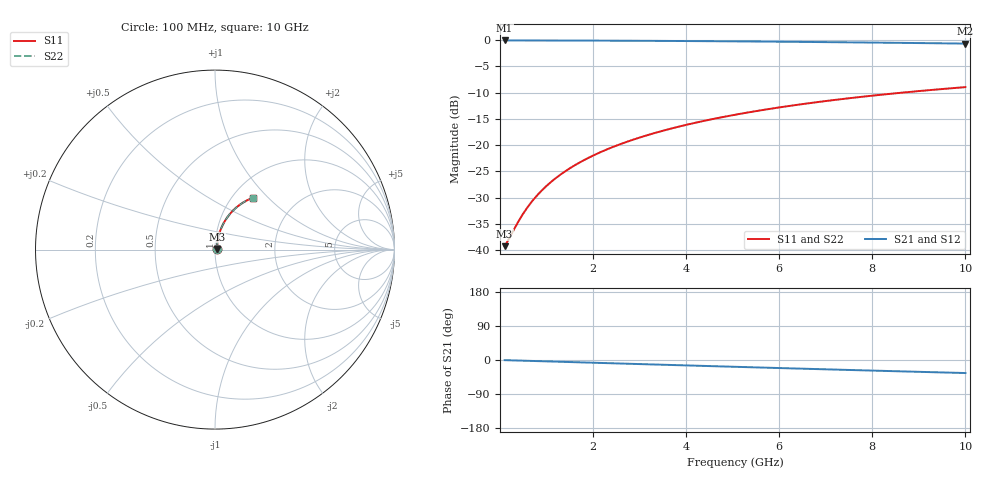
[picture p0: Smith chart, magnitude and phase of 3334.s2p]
# Hz S RI R 50.00
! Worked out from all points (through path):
!   100 points, 100 MHz to 10 GHz, reference 50 ohm
!   highest |S21| = -0.09 dB at 100 MHz (marker M1); lowest = -0.7 dB at 10 GHz (marker M2)
!   group delay of S21, straight-line fit = 9.58 ps
!   lowest |S11| = -39.2 dB at 100 MHz (marker M3), VSWR 1.02, Z = 51 + j0.397 ohm
!   |S11| at or under -10 dB: start of sweep to 8.665 GHz
!   |S22| runs from -39.2 to -9.0 dB; largest |S21 - S12| = 0
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1e8  0.0102 0.00389  0.9898 -0.00621  0.9898 -0.00621  0.0102 0.00389
2e8  0.0104 0.00779  0.9896 -0.0124  0.9896 -0.0124  0.0104 0.00779
4e8  0.0107 0.0156  0.9892 -0.0248  0.9892 -0.0248  0.0107 0.0156
5e8  0.011 0.0194  0.9889 -0.031  0.9889 -0.031  0.011 0.0194
6e8  0.0113 0.0233  0.9886 -0.0372  0.9886 -0.0372  0.0113 0.0233
7e8  0.0116 0.0272  0.9882 -0.0434  0.9882 -0.0434  0.0116 0.0272
8e8  0.012 0.0311  0.9878 -0.0496  0.9878 -0.0496  0.012 0.0311
1e9  0.0129 0.0388  0.9868 -0.062  0.9868 -0.062  0.0129 0.0388
1.2e9  0.014 0.0465  0.9855 -0.0743  0.9855 -0.0743  0.014 0.0465
1.5e9  0.0161 0.0579  0.9833 -0.0927  0.9833 -0.0927  0.0161 0.0579
1.8e9  0.0185 0.0693  0.9806 -0.1111  0.9806 -0.1111  0.0185 0.0693
2.1e9  0.0213 0.0805  0.9774 -0.1293  0.9774 -0.1293  0.0213 0.0805
2.5e9  0.0258 0.0953  0.9725 -0.1534  0.9725 -0.1534  0.0258 0.0953
2.9e9  0.0309 0.1098  0.9667 -0.1772  0.9667 -0.1772  0.0309 0.1098
3.4e9  0.0383 0.1275  0.9584 -0.2065  0.9584 -0.2065  0.0383 0.1275
4.2e9  0.0523 0.1546  0.9428 -0.2522  0.9428 -0.2522  0.0523 0.1546
5.1e9  0.0709 0.1829  0.9219 -0.3016  0.9219 -0.3016  0.0709 0.1829
5.9e9  0.0898 0.206  0.9006 -0.3434  0.9006 -0.3434  0.0898 0.206
6.7e9  0.1105 0.2269  0.8771 -0.3831  0.8771 -0.3831  0.1105 0.2269
7.5e9  0.1327 0.2455  0.8516 -0.4205  0.8516 -0.4205  0.1327 0.2455
8.4e9  0.1593 0.2636  0.821 -0.4598  0.821 -0.4598  0.1593 0.2636
1e10  0.2093 0.288  0.7626 -0.5223  0.7626 -0.5223  0.2093 0.288
